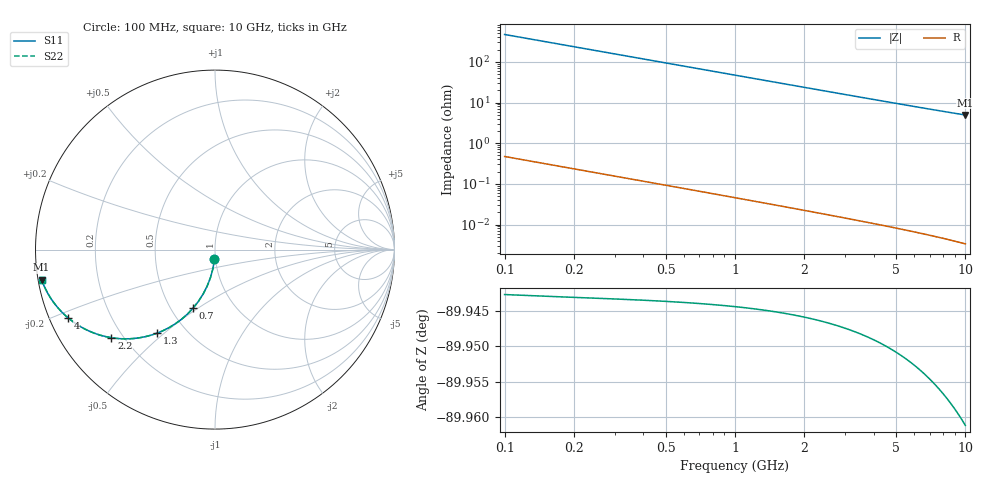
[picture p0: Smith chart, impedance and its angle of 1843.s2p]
# Hz S RI R 50.00
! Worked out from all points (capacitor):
!   100 points, 100 MHz to 10 GHz, reference 50 ohm
!   read as one part in shunt: C = 3.38 pF near 100 MHz
!   lowest |Z| = 4.93 ohm at 10 GHz (marker M1)
!   S11 on the Smith chart (normalised r, x): 100 MHz: 0.99, -0.10; 700 MHz: 0.64, -0.48; 1.3 GHz: 0.35, -0.47; 2.2 GHz: 0.16, -0.36; 4 GHz: 0.05, -0.22; 10 GHz: 0.01, -0.09
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1e8  -0.0028 -0.0529  0.9971 -0.0531  0.9971 -0.0531  -0.0028 -0.0529
2e8  -0.0112 -0.1048  0.9887 -0.1053  0.9887 -0.1053  -0.0112 -0.1048
3e8  -0.0249 -0.155  0.975 -0.1557  0.975 -0.1557  -0.0249 -0.155
4e8  -0.0433 -0.2028  0.9565 -0.2037  0.9565 -0.2037  -0.0433 -0.2028
5e8  -0.0661 -0.2474  0.9338 -0.2486  0.9338 -0.2486  -0.0661 -0.2474
6e8  -0.0924 -0.2885  0.9075 -0.2899  0.9075 -0.2899  -0.0924 -0.2885
7e8  -0.1217 -0.3257  0.8782 -0.3273  0.8782 -0.3273  -0.1217 -0.3257
8e8  -0.1532 -0.3588  0.8467 -0.3606  0.8467 -0.3606  -0.1532 -0.3588
1e9  -0.2203 -0.4128  0.7796 -0.4151  0.7796 -0.4151  -0.2203 -0.4128
1.3e9  -0.323 -0.4657  0.6768 -0.4687  0.6768 -0.4687  -0.323 -0.4657
1.5e9  -0.3885 -0.4852  0.6114 -0.4886  0.6114 -0.4886  -0.3885 -0.4852
1.8e9  -0.4777 -0.4969  0.5222 -0.5011  0.5222 -0.5011  -0.4777 -0.4969
2.2e9  -0.5773 -0.4909  0.4225 -0.496  0.4225 -0.496  -0.5773 -0.4909
2.5e9  -0.6382 -0.4771  0.3617 -0.4829  0.3617 -0.4829  -0.6382 -0.4771
2.8e9  -0.6887 -0.4592  0.3111 -0.4657  0.3111 -0.4657  -0.6887 -0.4592
3.4e9  -0.7655 -0.4192  0.2344 -0.4271  0.2344 -0.4271  -0.7655 -0.4192
4e9  -0.8188 -0.38  0.181 -0.3892  0.181 -0.3892  -0.8188 -0.38
4.5e9  -0.8513 -0.35  0.1485 -0.3604  0.1485 -0.3604  -0.8513 -0.35
5.1e9  -0.8804 -0.318  0.1194 -0.3298  0.1194 -0.3298  -0.8804 -0.318
6.7e9  -0.9273 -0.2511  0.0725 -0.2668  0.0725 -0.2668  -0.9273 -0.2511
8.4e9  -0.9527 -0.2015  0.0469 -0.2212  0.0469 -0.2212  -0.9527 -0.2015
1e10  -0.9664 -0.1673  0.0332 -0.191  0.0332 -0.191  -0.9664 -0.1673
